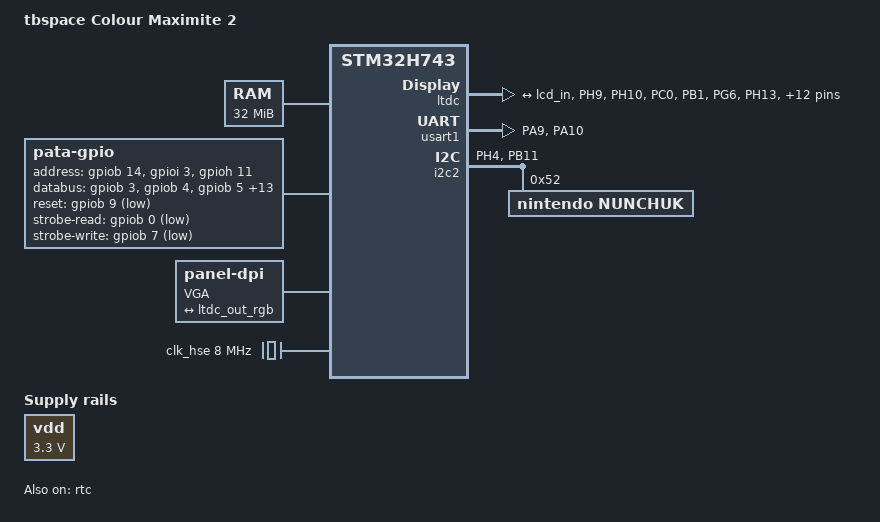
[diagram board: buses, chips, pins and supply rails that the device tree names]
/*
 * Copyright 2017 - Alexandre Torgue <alexandre.torgue@st.com>
 * Copyright 2020 - Tobias Schramm <t.schramm@t-sys.eu>
 *
 * This file is dual-licensed: you can use it either under the terms
 * of the GPL or the X11 license, at your option. Note that this dual
 * licensing only applies to this file, and not this project as a
 * whole.
 *
 *  a) This file is free software; you can redistribute it and/or
 *     modify it under the terms of the GNU General Public License as
 *     published by the Free Software Foundation; either version 2 of the
 *     License, or (at your option) any later version.
 *
 *     This file is distributed in the hope that it will be useful,
 *     but WITHOUT ANY WARRANTY; without even the implied warranty of
 *     MERCHANTABILITY or FITNESS FOR A PARTICULAR PURPOSE.  See the
 *     GNU General Public License for more details.
 *
 * Or, alternatively,
 *
 *  b) Permission is hereby granted, free of charge, to any person
 *     obtaining a copy of this software and associated documentation
 *     files (the "Software"), to deal in the Software without
 *     restriction, including without limitation the rights to use,
 *     copy, modify, merge, publish, distribute, sublicense, and/or
 *     sell copies of the Software, and to permit persons to whom the
 *     Software is furnished to do so, subject to the following
 *     conditions:
 *
 *     The above copyright notice and this permission notice shall be
 *     included in all copies or substantial portions of the Software.
 *
 *     THE SOFTWARE IS PROVIDED "AS IS", WITHOUT WARRANTY OF ANY KIND,
 *     EXPRESS OR IMPLIED, INCLUDING BUT NOT LIMITED TO THE WARRANTIES
 *     OF MERCHANTABILITY, FITNESS FOR A PARTICULAR PURPOSE AND
 *     NONINFRINGEMENT. IN NO EVENT SHALL THE AUTHORS OR COPYRIGHT
 *     HOLDERS BE LIABLE FOR ANY CLAIM, DAMAGES OR OTHER LIABILITY,
 *     WHETHER IN AN ACTION OF CONTRACT, TORT OR OTHERWISE, ARISING
 *     FROM, OUT OF OR IN CONNECTION WITH THE SOFTWARE OR THE USE OR
 *     OTHER DEALINGS IN THE SOFTWARE.
 */

/dts-v1/;
#include "stm32h743.dtsi"
#include "stm32h743-pinctrl.dtsi"
#include <dt-bindings/gpio/gpio.h>

/ {
	model = "tbspace Colour Maximite 2";
	compatible = "tbspace,cmm2", "st,stm32h743";

	chosen {
		stdout-path = "serial0:921600n8";
	};

	// 32MiB SDRAM on FMC Bank 1
	memory@d0000000 {
		device_type = "memory";
		reg = <0xd0000000 0x2000000>;
	};

	// 2MiB DMA memory for LCD controller
	reserved-memory {
		#address-cells = <1>;
		#size-cells = <1>;
		ranges;

		linux,dma {
			compatible = "shared-dma-pool";
			no-map;
			size = <0x200000>;
			alignment = <0x1000>;
			linux,dma-default;
		};
	};

	aliases {
		serial0 = &usart1;
	};

	vdd: regulator-vdd {
		compatible = "regulator-fixed";
		regulator-name = "vdd";
		regulator-min-microvolt = <3300000>;
		regulator-max-microvolt = <3300000>;
		regulator-always-on;
	};

	// Unbearably slow, about 4KiB/s
        spi-gpio {
                compatible = "spi-gpio";
                #address-cells = <1>;
                #size-cells = <0>;
                cs-gpios = <&gpiod 2 GPIO_ACTIVE_LOW>;
                gpio-mosi = <&gpioc 12 0>;
                gpio-miso = <&gpioc 11 0>;
                gpio-sck = <&gpioc 10 0>;
                spi-delay-us = <0>;
                status = "disabled";

		mmc-slot@0 {
			compatible = "mmc-spi-slot";
			reg = <0>;
			gpios = <&gpiod 3 GPIO_ACTIVE_LOW>;
			pinctrl-0 = <&mmc_spi_pins>;
			pinctrl-names = "default";
			spi-cs-high;
			spi-max-frequency = <1000000>;
			voltage-ranges = <3300 3300>;
		};
        };

	// See https://github.com/Manawyrm/pata-gpio
	pata-gpio {
		compatible = "pata-gpio";

		address-gpios = <
			&gpiob 14 0
			&gpioi 3 0
			&gpioh 11 0
			>;

		cs-gpios = <
			&gpioa 1 1
			&gpioi 8 1
			>;

		databus-gpios = <
			&gpiob 3 0
			&gpiob 4 0
			&gpiob 5 0
			&gpioc 3 0
			&gpioc 2 0
			&gpioh 14 0
			&gpioc 1 0
			&gpiob 8 0
			&gpioa 2 0
			&gpioa 3 0
			&gpioa 6 0
			&gpioa 0 0
			&gpioa 15 0
			&gpioa 7 0
			&gpioc 4 0
			&gpioc 5 0
			>;

		reset-gpio = <&gpiob 9 1>;

		strobe-read-gpio = <&gpiob 0 1>;
		strobe-write-gpio = <&gpiob 7 1>;
	};

	// Generic panel for VGA
	lcd0: display@0 {
		compatible = "panel-dpi";
		label = "VGA";

		port {
			lcd_in: endpoint {
				remote-endpoint = <&ltdc_out_rgb>;
			};
		};

		// Standard 640x480 VGA timing
		panel-timing {
			clock-frequency = <23750000>;
			hactive = <640>;
			vactive = <480>;
			hfront-porch = <16>;
			hback-porch = <80>;
			hsync-len = <64>;
			vback-porch = <13>;
			vfront-porch = <3>;
			vsync-len = <4>;

			hsync-active = <0>;
			vsync-active = <0>;
			de-active = <1>;
			pixelclk-active = <1>;
		};
	};

	// Pretty broken, just good enough for the keyboard to work sometimes
	ps2@0 {
	        compatible = "ps2-gpio";
	        interrupt-parent = <&gpioa>;
	        interrupts = <12 IRQ_TYPE_EDGE_FALLING>;
	        data-gpios = <&gpioa 11 0x10>;
	        clk-gpios = <&gpioa 12 0x10>;
		status = "disabled";
	};
};

&ltdc {
	pinctrl-0 = <&ltdc_pins>;
	pinctrl-names = "default";
	status = "okay";

	port {
		ltdc_out_rgb: endpoint@0 {
			remote-endpoint = <&lcd_in>;
		};
	};
};

/*
&soc {
	ltdc: display-controller@50001000 {
		compatible = "st,stm32-ltdc";
		reg = <0x50001000 0x200>;
		interrupts = <88>, <89>;
		resets = <&rcc STM32H7_APB3_RESET(LTDC)>;
		clocks = <&rcc LTDC_CK>;
		clock-names = "lcd";
		pinctrl-0 = <&ltdc_pins>;
		pinctrl-names = "default";

		port {
			ltdc_out_rgb: endpoint@0 {
				remote-endpoint = <&lcd_in>;
			};
		};
	};
};
*/

&clk_hse {
	clock-frequency = <8000000>;
};

&rtc {
	status = "okay";
};

&sdmmc1 {
	status = "disabled";
};

&usart1 {
	// Overwrite compatible, default has no FIFO
	compatible = "st,stm32h7-uart";
	pinctrl-0 = <&usart1_alt_pins>;
	pinctrl-names = "default";
	status = "okay";
};

// Broken, phy reports transaction errors
&usbotg_fs {
	compatible = "st,stm32f7-hsotg";
//	pinctrl-0 = <&usbotg_pins>;
//	pinctrl-names = "default";
//	phys = <&usbotg_hs_phy>;
//	phy-names = "usb-phy";
	dr_mode = "host";
//	resets = <&rcc STM32H7_AHB1_RESET(USB2OTG)>;
	st,hs-before-reset;
	status = "disabled";
};

&dma1 {
	status = "disabled";
};

// Broken for some reason, no activity on MOSI
&spi3 {
	cs-gpios = <&gpiod 2 GPIO_ACTIVE_LOW>;
	pinctrl-0 = <&spi3_pins>;
	pinctrl-names = "default";
	status = "disabled";

	mmc-slot@0 {
		compatible = "mmc-spi-slot";
		reg = <0>;
		debug-gpios = <&gpioa 2 0 &gpioa 3 0 &gpioa 6 0>;
		gpios = <&gpiod 3 GPIO_ACTIVE_LOW>;
		pinctrl-0 = <&mmc_spi_pins>;
		pinctrl-names = "default";
		spi-cs-high; // bug?
		spi-max-frequency = <10000000>;
		voltage-ranges = <3300 3300>;
	};
};

&i2c2 {
	pinctrl-0 = <&i2c2_pins>;
	pinctrl-names = "default";	
	status = "okay";

	nunchuk@52 {
		compatible = "nintendo,nunchuk";
		reg = <0x52>;
	};
};

&pinctrl {
	usart1_alt_pins: usart1@0 {
		pins1 {
			pinmux = <STM32_PINMUX('A', 9, AF7)>; /* USART1_TX */
			bias-disable;
			drive-push-pull;
			slew-rate = <0>;
		};
		pins2 {
			pinmux = <STM32_PINMUX('A', 10, AF7)>; /* USART1_RX */
			bias-disable;
		};
	};	
	spi3_pins: spi3@0 {
		pins1 {
			pinmux = <STM32_PINMUX('C', 12, AF6)>; /* MOSI */
			bias-disable;
			drive-push-pull;
			slew-rate = <3>;
		};
		pins2 {
			pinmux = <STM32_PINMUX('C', 11, AF6)>; /* MISO */
			bias-disable;
		};
		pins3 {
			pinmux = <STM32_PINMUX('C', 10, AF6)>; /* SCK */
			bias-disable;
			drive-push-pull;
			slew-rate = <3>;
		};
	};	
	spi3_slave_pins: spi3-slave@0 {
		pins1 {
			pinmux = <STM32_PINMUX('C', 12, AF6)>; /* MOSI */
			bias-pull-up;
		};
		pins2 {
			pinmux = <STM32_PINMUX('C', 11, AF6)>; /* MISO */
			bias-pull-up;
		};
		pins3 {
			pinmux = <STM32_PINMUX('C', 10, AF6)>; /* SCK */
			bias-pull-up;
		};
	};	
	spi3_cs: spi3cs0@0 {
		cs0 {
			pinmux = <STM32_PINMUX('D', 2, GPIO)>; /* SS */
			bias-disable;
			drive-push-pull;
			slew-rate = <0>;
		};
	};	
	mmc_spi_pins: mmc_spi@0 {
		pins1 {
			pinmux = <STM32_PINMUX('D', 3, GPIO)>; /* card detect */
			bias-pull-up;
		};
	};	
	ltdc_pins: ltdc-gpio@0 {
		/* red */
		pins1 {
			pinmux = <STM32_PINMUX('H', 9, AF14)>; /* R3 */
			drive-push-pull;
			slew-rate = <3>;
			
		};
		pins2 {
			pinmux = <STM32_PINMUX('H', 10, AF14)>; /* R4 */
			drive-push-pull;
			slew-rate = <3>;
			
		};
		pins3 {
			pinmux = <STM32_PINMUX('C', 0, AF14)>; /* R5 */
			drive-push-pull;
			slew-rate = <3>;
			
		};
		pins4 {
			pinmux = <STM32_PINMUX('B', 1, AF14)>; /* R6 */
			drive-push-pull;
			slew-rate = <3>;
			
		};
		pins5 {
			pinmux = <STM32_PINMUX('G', 6, AF14)>; /* R7 */
			drive-push-pull;
			slew-rate = <3>;
			
		};
		/* green */
		pins6 {
			pinmux = <STM32_PINMUX('H', 13, AF14)>; /* G2 */
			drive-push-pull;
			slew-rate = <3>;
			
		};
		pins7 {
			pinmux = <STM32_PINMUX('G', 10, AF14)>; /* G3 */
			drive-push-pull;
			slew-rate = <3>;
			
		};
		pins8 {
			pinmux = <STM32_PINMUX('H', 15, AF14)>; /* G4 */
			drive-push-pull;
			slew-rate = <3>;
			
		};
		pins9 {
			pinmux = <STM32_PINMUX('I', 0, AF14)>; /* G5 */
			drive-push-pull;
			slew-rate = <3>;
			
		};
		pins10 {
			pinmux = <STM32_PINMUX('I', 1, AF14)>; /* G6 */
			drive-push-pull;
			slew-rate = <3>;
			
		};
		pins11 {
			pinmux = <STM32_PINMUX('I', 2, AF14)>; /* G7 */
			drive-push-pull;
			slew-rate = <3>;
			
		};
		/* blue */
		pins12 {
			pinmux = <STM32_PINMUX('G', 11, AF14)>; /* B3 */
			drive-push-pull;
			slew-rate = <3>;
			
		};
		pins13 {
			pinmux = <STM32_PINMUX('I', 4, AF14)>; /* B4 */
			drive-push-pull;
			slew-rate = <3>;
			
		};
		pins14 {
			pinmux = <STM32_PINMUX('I', 5, AF14)>; /* B5 */
			drive-push-pull;
			slew-rate = <3>;
			
		};
		pins15 {
			pinmux = <STM32_PINMUX('I', 6, AF14)>; /* B6 */
			drive-push-pull;
			slew-rate = <3>;
			
		};
		pins16 {
			pinmux = <STM32_PINMUX('I', 7, AF14)>; /* B7 */
			drive-push-pull;
			slew-rate = <3>;
			
		};
		/* vsync */
		pins17 {
			pinmux = <STM32_PINMUX('I', 9, AF14)>; /* VSYNC */
			drive-push-pull;
			slew-rate = <3>;
			
		};
		/* hsync */
		pins18 {
			pinmux = <STM32_PINMUX('I', 10, AF14)>; /* VSYNC */
			drive-push-pull;
			slew-rate = <3>;
			
		};
	};

	ps2_pins: ps2-gpio@0 {
		pins {
			pinmux = <STM32_PINMUX('A', 11, GPIO)>, /* D- */
				 <STM32_PINMUX('A', 12, GPIO)>; /* D+ */
			bias-pull-up;
			drive-open-drain;
			slew-rate = <1>;
		};
	};

	i2c2_pins: i2c2-gpio0 {
		pins {
			pinmux = <STM32_PINMUX('H', 4, AF4)>, /* SCL */
				 <STM32_PINMUX('B', 11, AF4)>; /* SDA */
			drive-open-drain;
			slew-rate = <1>;
		};
	};
	usbotg_pins: usbotg-gpios@0 {
		pins {
			pinmux = <STM32_PINMUX('A', 11, AF10)>, // D-
				 <STM32_PINMUX('A', 12, AF10)>; // D+
			bias-disable;
			drive-push-pull;
			slew-rate = <2>;
		};
	};
};
